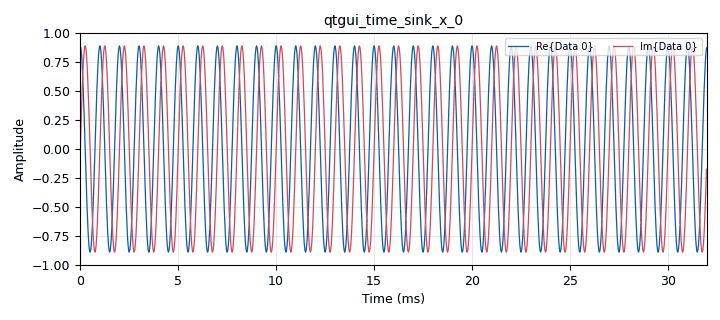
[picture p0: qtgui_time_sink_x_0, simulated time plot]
options:
  parameters:
    generate_options: qt_gui
    id: importingLibraries
    output_language: python
    title: Importing Libraries
  states: {}

blocks:
- name: randomAmplitude
  id: variable
  parameters:
    value: np.random.uniform(0.1,1)
  states: {}
- name: reversedArray
  id: variable
  parameters:
    value: sequentialArray[::-1]
  states: {}
- name: samp_rate
  id: variable
  parameters:
    value: '32000'
  states: {}
- name: sequentialArray
  id: variable
  parameters:
    value: np.arange(0,10)
  states: {}
- name: analog_sig_source_x_0
  id: analog_sig_source_x
  parameters:
    amp: randomAmplitude
    freq: '1000'
    offset: '0'
    phase: '0'
    samp_rate: samp_rate
    type: complex
    waveform: analog.GR_COS_WAVE
  states: {}
- name: import_0
  id: import
  parameters:
    imports: import numpy as np
  states: {}
- name: qtgui_time_sink_x_0
  id: qtgui_time_sink_x
  parameters:
    size: '1024'
    srate: samp_rate
    type: complex
  states: {}

connections:
- [analog_sig_source_x_0, '0', qtgui_time_sink_x_0, '0']

metadata:
  file_format: 1
  grc_version: 3.10.12.0
